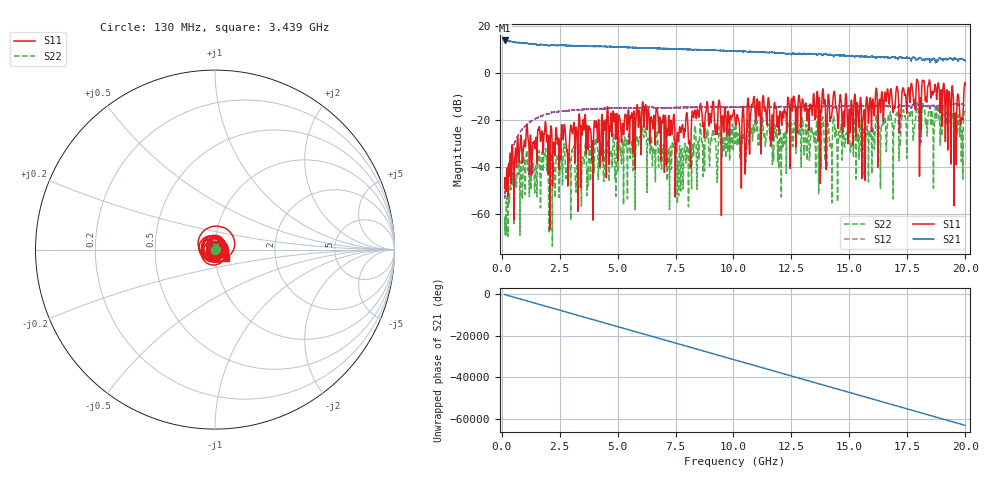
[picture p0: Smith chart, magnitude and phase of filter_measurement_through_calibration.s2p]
!Created with skrf (http://scikit-rf.org).
# GHz S RI R 50.0
!freq ReS11 ImS11 ReS21 ImS21 ReS12 ImS12 ReS22 ImS22
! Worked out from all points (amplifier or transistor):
!   20013 points, 130 MHz to 20 GHz, reference 50 ohm
!   highest |S21| = 13.7 dB at 135 MHz (marker M1)
!   |S21| within 3 dB of that: start of sweep to 5.445 GHz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
!   unconditionally stable (mu >= 1): start of sweep to 18.2 GHz; 18.21 GHz to 18.44 GHz; 18.45 GHz to end of sweep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
!   at 3.465 GHz: K = 1.13, MAG = 11.4 dB, |S12| = -15.7 dB
!   at 10.14 GHz: K = 1.20, MAG = 9.1 dB, |S12| = -14.7 dB
!   at 20 GHz: K = 1.21, MAG = 6.6 dB, |S12| = -13.8 dB
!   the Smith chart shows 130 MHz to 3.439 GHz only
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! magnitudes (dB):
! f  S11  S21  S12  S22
! 130 MHz  -49.2  13.7  -53.2  -61.7
! 135 MHz  -47.5  13.7  -52.5  -62.0
! 428 MHz  -36.2  13.2  -33.7  -44.9
! 958 MHz  -30.6  12.5  -23.2  -36.3
! 2.666 GHz  -27.3  11.6  -16.3  -32.0
! 2.852 GHz  -38.0  11.5  -16.1  -48.1
! 3.442 GHz  -22.4  11.4  -15.7  -56.3
! 6.138 GHz  -22.8  10.6  -14.8  -26.9
! 6.754 GHz  -20.0  10.3  -14.9  -35.7
! 7.568 GHz  -26.2  10.0  -14.8  -39.2
! 8.52 GHz  -18.2  9.7  -14.7  -34.6
! 10.06 GHz  -19.7  9.1  -14.5  -29.5
! 10.28 GHz  -27.2  9.2  -14.5  -29.1
! 10.84 GHz  -13.3  8.8  -14.6  -25.8
! 11.65 GHz  -22.4  8.6  -14.5  -27.4
! 13.38 GHz  -14.7  7.9  -14.2  -23.7
! 15.61 GHz  -17.7  6.8  -14.3  -24.4
! 16.69 GHz  -10.6  6.4  -14.3  -17.9
! 18.77 GHz  -10.2  5.0  -14.6  -17.2
! 19.56 GHz  -17.2  6.0  -13.1  -28.6
! 19.84 GHz  -19.5  5.9  -13.3  -30.1
! 20 GHz  -5.2  4.9  -13.8  -15.9
